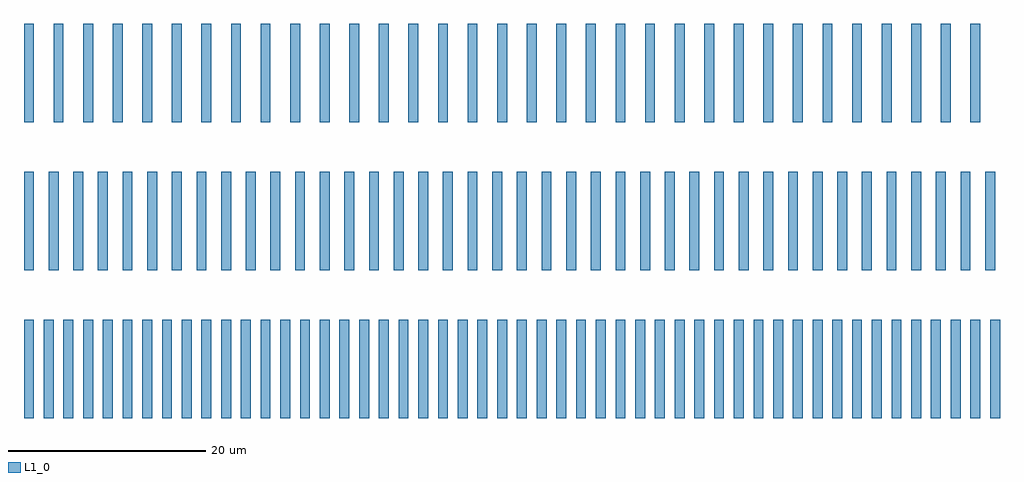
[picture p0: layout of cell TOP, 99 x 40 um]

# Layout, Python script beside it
import klayout.db as db
import math

ly = db.Layout()
layer = ly.layer(1, 0)

top_cell = ly.create_cell("TOP")

width = 1.0
height = 10.0
length = 100.0

bar = ly.create_cell("BAR")
bar.shapes(layer).insert(db.DBox(0, 0, width, height))


def make_grating_cell(ly, bar, pitch, length):

  """
  This function creates a grating cell  with the given 
  bar cell and with the given pitch and length.
  """

  # Note: KLayout will create a unique name itself:
  grating = ly.create_cell("GRATING")

  a = db.DVector(pitch, 0)
  na = math.floor(length / pitch)

  b = db.DVector()  # not used
  nb = 1

  grating.insert(db.DCellInstArray(bar.cell_index(), db.DTrans(), a, b, na, nb))

  return grating
  

y = 0.0

for pitch in [ 2.0, 2.5, 3.0 ]:

  grating = make_grating_cell(ly, bar, pitch, length)
  top_cell.insert(db.DCellInstArray(grating.cell_index(), db.DTrans(db.DVector(0, y))))

  y += height * 1.5

ly.write("gratings_hierarchical.gds")
